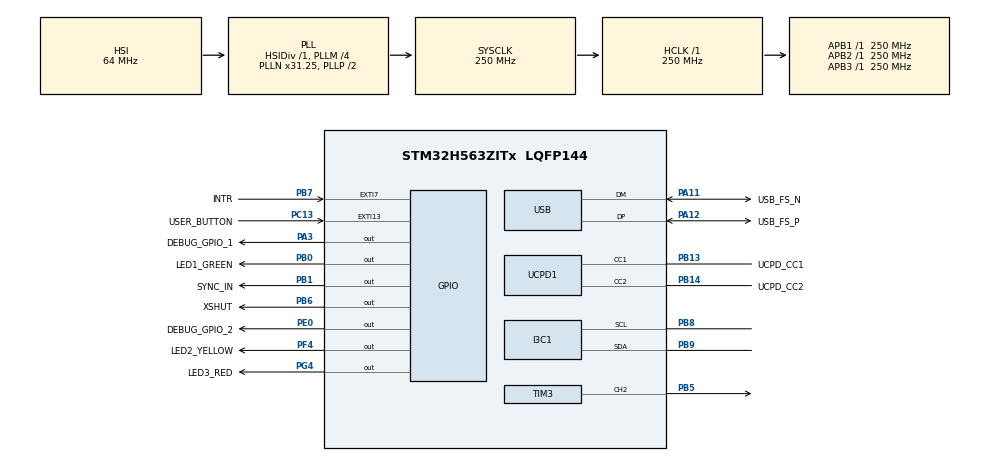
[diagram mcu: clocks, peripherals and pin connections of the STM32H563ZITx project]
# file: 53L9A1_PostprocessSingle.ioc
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BOOTPATH.BootPathName=LEGACY
BOOTPATH.UserSelectedBootPath=LEGACY
CORTEX_M33_NS.userName=CORTEX_M33
GPDMA1.DESTDATAWIDTH_GPDMACH0=DMA_DEST_DATAWIDTH_WORD
GPDMA1.DESTINC_GPDMACH0=DMA_DINC_FIXED
GPDMA1.DESTINC_GPDMACH1=DMA_DINC_FIXED
GPDMA1.DESTINC_GPDMACH2=DMA_DINC_INCREMENTED
GPDMA1.DIRECTION_GPDMACH0=DMA_MEMORY_TO_PERIPH
GPDMA1.IPHANDLE_GPDMACH0-SIMPLEREQUEST_GPDMACH0=__NULL
GPDMA1.IPHANDLE_GPDMACH1-SIMPLEREQUEST_GPDMACH1=__NULL
GPDMA1.IPHANDLE_GPDMACH2-SIMPLEREQUEST_GPDMACH2=__NULL
GPDMA1.REQUEST_GPDMACH0=GPDMA1_REQUEST_I3C1_TC
GPDMA1.REQUEST_GPDMACH1=GPDMA1_REQUEST_I3C1_TX
GPDMA1.REQUEST_GPDMACH2=GPDMA1_REQUEST_I3C1_RX
GPDMA1.SRCDATAWIDTH_GPDMACH0=DMA_SRC_DATAWIDTH_WORD
GPDMA1.SRCINC_GPDMACH0=DMA_SINC_INCREMENTED
GPDMA1.SRCINC_GPDMACH1=DMA_SINC_INCREMENTED
I3C1.BusFreeDuration=850
I3C1.BusUsage=MixedUsage
I3C1.DutyCycleI2C=50
I3C1.DutyCycleI3C=4
I3C1.Register0=0x7c7c09bd
I3C1.Register1=0x106a00f8
I3C1.SCLI2CHighDuration=0x7c
I3C1.SCLI3CHighDuration=0x09
I3C1.SCLODLowDuration=0x7c
I3C1.SCLPPLowDuration=0xbd
I3C1.SCL_OD_Freq=1852
I3C1.SCL_PP_Freq=1250
I3C1.SDAHoldTime=HAL_I3C_SDA_HOLD_TIME_1_5
I3C1.hexBusFreeDuration=0x6a
I3C1.hexBusIdleDuration=0xf8
Mcu.Family=STM32H5
Mcu.Name=STM32H563ZITx
Mcu.Package=LQFP144
NUCLEO-H563ZI.VCP=true
NVIC.EXTI7_IRQn=true\:0\:0\:false\:false\:true\:true\:true\:true
NVIC.GPDMA1_Channel0_IRQn=true\:0\:0\:false\:false\:true\:false\:true\:true
NVIC.GPDMA1_Channel1_IRQn=true\:0\:0\:false\:false\:true\:false\:true\:true
NVIC.GPDMA1_Channel2_IRQn=true\:0\:0\:false\:false\:true\:false\:true\:true
NVIC.I3C1_ER_IRQn=true\:0\:0\:false\:false\:true\:true\:true\:true
NVIC.I3C1_EV_IRQn=true\:0\:0\:false\:false\:true\:true\:true\:true
NVIC.PriorityGroup=NVIC_PRIORITYGROUP_4
PA1.GPIO_Label=RMII_REF_CLK
PA1.GPIO_Mode=GPIO_MODE_AF_PP
PA1.GPIO_PuPd=GPIO_NOPULL
PA1.GPIO_Speed=GPIO_SPEED_FREQ_LOW
PA1.Signal=ETH_RMII_REF_CLK
PA11.GPIO_Label=USB_FS_N
PA11.Mode=Device
PA11.Signal=USB_DM
PA12.GPIO_Label=USB_FS_P
PA12.Mode=Device
PA12.Signal=USB_DP
PA13(JTMS/SWDIO).GPIO_Label=SWDIO
PA13(JTMS/SWDIO).Mode=Trace_Synchro_4bits_JTAG
PA13(JTMS/SWDIO).Signal=DEBUG_JTMS-SWDIO
PA14(JTCK/SWCLK).GPIO_Label=SWCLK
PA14(JTCK/SWCLK).Mode=Trace_Synchro_4bits_JTAG
PA14(JTCK/SWCLK).Signal=DEBUG_JTCK-SWCLK
PA15(JTDI).GPIO_Label=T_JTDI
PA15(JTDI).Mode=Trace_Synchro_4bits_JTAG
PA15(JTDI).Signal=DEBUG_JTDI
PA2.GPIO_Label=RMII_MDIO
PA2.GPIO_Mode=GPIO_MODE_AF_PP
PA2.GPIO_PuPd=GPIO_NOPULL
PA2.GPIO_Speed=GPIO_SPEED_FREQ_LOW
PA2.Signal=ETH_MDIO
PA3.GPIO_Label=DEBUG_GPIO_1
PA3.GPIO_Speed=GPIO_SPEED_FREQ_HIGH
PA3.Signal=GPIO_Output
PA4.GPIO_Label=VBUS_SENSE
PA4.Signal=ADCx_INP18
PA7.GPIO_Label=RMII_CRS_DV
PA7.GPIO_Mode=GPIO_MODE_AF_PP
PA7.GPIO_PuPd=GPIO_NOPULL
PA7.GPIO_Speed=GPIO_SPEED_FREQ_LOW
PA7.Signal=ETH_RMII_CRS_DV
PA9.GPIO_Label=UCPD_DBn
PA9.Signal=UCPD1_DB1
PB0.GPIO_Label=LED1_GREEN
PB0.Signal=GPIO_Output
PB1.GPIO_Label=SYNC_IN
PB1.GPIO_Speed=GPIO_SPEED_FREQ_VERY_HIGH
PB1.PinState=GPIO_PIN_SET
PB1.Signal=GPIO_Output
PB13.GPIO_Label=UCPD_CC1
PB13.Mode=Source_AllSignals
PB13.Signal=UCPD1_CC1
PB14.GPIO_Label=UCPD_CC2
PB14.Mode=Source_AllSignals
PB14.Signal=UCPD1_CC2
PB15.GPIO_Label=RMII_TXD1
PB15.GPIO_Mode=GPIO_MODE_AF_PP
PB15.GPIO_PuPd=GPIO_NOPULL
PB15.GPIO_Speed=GPIO_SPEED_FREQ_LOW
PB15.Signal=ETH_RMII_TXD1
PB3(JTDO/TRACESWO).GPIO_Label=SWO
PB3(JTDO/TRACESWO).Mode=Trace_Synchro_4bits_JTAG
PB3(JTDO/TRACESWO).Signal=DEBUG_JTDO-SWO
PB5.GPIO_Speed=GPIO_SPEED_FREQ_HIGH
PB5.Signal=S_TIM3_CH2
PB6.GPIO_Label=XSHUT
PB6.PinState=GPIO_PIN_SET
PB6.Signal=GPIO_Output
PB7.GPIO_Label=INTR
PB7.GPIO_ModeDefaultEXTI=GPIO_MODE_IT_FALLING
PB7.Signal=GPXTI7
PB8.Mode=Controller
PB8.Signal=I3C1_SCL
PB9.Mode=Controller
PB9.Signal=I3C1_SDA
PC1.GPIO_Label=RMII_MDC
PC1.GPIO_Mode=GPIO_MODE_AF_PP
PC1.GPIO_PuPd=GPIO_NOPULL
PC1.GPIO_Speed=GPIO_SPEED_FREQ_LOW
PC1.Signal=ETH_MDC
PC13.GPIO_Label=USER_BUTTON
PC13.Signal=GPXTI13
PC14-OSC32_IN(OSC32_IN).Mode=LSE-External-Oscillator
PC14-OSC32_IN(OSC32_IN).Signal=RCC_OSC32_IN
PC15-OSC32_OUT(OSC32_OUT).Mode=LSE-External-Oscillator
PC15-OSC32_OUT(OSC32_OUT).Signal=RCC_OSC32_OUT
PC4.GPIO_Label=RMII_RXD0
PC4.GPIO_Mode=GPIO_MODE_AF_PP
PC4.GPIO_PuPd=GPIO_NOPULL
PC4.GPIO_Speed=GPIO_SPEED_FREQ_LOW
PC4.Signal=ETH_RMII_RXD0
PC5.GPIO_Label=RMII_RXD1
PC5.GPIO_Mode=GPIO_MODE_AF_PP
PC5.GPIO_PuPd=GPIO_NOPULL
PC5.GPIO_Speed=GPIO_SPEED_FREQ_LOW
PC5.Signal=ETH_RMII_RXD1
PE0.GPIO_Label=DEBUG_GPIO_2
PE0.GPIO_Speed=GPIO_SPEED_FREQ_HIGH
PE0.Signal=GPIO_Output
PE2.GPIO_Label=TRACE_CK
PE2.Mode=Trace_Synchro_4bits_JTAG
PE2.Signal=DEBUG_TRACECLK
PE3.GPIO_Label=TRACE_D0
PE3.Mode=Trace_Synchro_4bits_JTAG
PE3.Signal=DEBUG_TRACED0
PE4.GPIO_Label=TRACE_D1
PE4.Mode=Trace_Synchro_4bits_JTAG
PE4.Signal=DEBUG_TRACED1
PE5.GPIO_Label=TRACE_D2
PE5.Mode=Trace_Synchro_4bits_JTAG
PE5.Signal=DEBUG_TRACED2
PE6.GPIO_Label=TRACE_D3
PE6.Mode=Trace_Synchro_4bits_JTAG
PE6.Signal=DEBUG_TRACED3
PF4.GPIO_Label=LED2_YELLOW
PF4.Signal=GPIO_Output
PG11.GPIO_Label=RMII_TXT_EN
PG11.GPIO_Mode=GPIO_MODE_AF_PP
PG11.GPIO_PuPd=GPIO_NOPULL
PG11.GPIO_Speed=GPIO_SPEED_FREQ_LOW
PG11.Signal=ETH_RMII_TX_EN
PG13.GPIO_Label=RMI_TXD0
PG13.GPIO_Mode=GPIO_MODE_AF_PP
PG13.GPIO_PuPd=GPIO_NOPULL
PG13.GPIO_Speed=GPIO_SPEED_FREQ_LOW
PG13.Signal=ETH_RMII_TXD0
PG4.GPIO_Label=LED3_RED
PG4.Signal=GPIO_Output
PH0-OSC_IN(PH0).Mode=HSE-DIG-External-Clock-Source
PH0-OSC_IN(PH0).Signal=RCC_OSC_IN
ProjectManager.HeapSize=0x200
ProjectManager.StackSize=0x400
ProjectManager.TargetToolchain=CMake
RCC.ADCCLockSelection=RCC_ADCDACCLKSOURCE_HSI
RCC.ADCFreq_Value=64000000
RCC.AHBFreq_Value=250000000
RCC.APB1Freq_Value=250000000
RCC.APB1TimFreq_Value=250000000
RCC.APB2Freq_Value=250000000
RCC.APB2TimFreq_Value=250000000
RCC.APB3Freq_Value=250000000
RCC.CSI_VALUE=4000000
RCC.CortexFreq_Value=250000000
RCC.EPOD_VALUE=8000000
RCC.HCLKFreq_Value=250000000
RCC.HSE_VALUE=8000000
RCC.HSI48_VALUE=48000000
RCC.HSIDiv=RCC_HSI_DIV1
RCC.HSI_VALUE=64000000
RCC.LSIRC_VALUE=32000
RCC.PLLFRACN=2048
RCC.PLLM=4
RCC.PLLN=31
RCC.PLLSourceVirtual=RCC_PLL1_SOURCE_HSI
RCC.SYSCLKFreq_VALUE=250000000
RCC.SYSCLKSource=RCC_SYSCLKSOURCE_PLLCLK
RCC.USBFreq_Value=48000000
RCC.VCOOutputFreq_Value=500000000
SH.ADCx_INP18.0=ADC1_INP18
SH.S_TIM3_CH2.0=TIM3_CH2,PWM Generation2 CH2
TIM3.AutoReloadPreload=TIM_AUTORELOAD_PRELOAD_ENABLE
TIM3.Channel-PWM\ Generation2\ CH2=TIM_CHANNEL_2
TIM3.PeriodNoDither=19
TIM3.PulseNoDither_2=10
USB.VirtualMode=Device_Only
VP_BOOTPATH_VS_BOOTPATH.Mode=BP_Activate
VP_CORTEX_M33_NS_VS_Hclk.Mode=Hclk_Mode
VP_GPDMA1_VS_GPDMACH0.Mode=SIMPLEREQUEST_GPDMACH0
VP_GPDMA1_VS_GPDMACH1.Mode=SIMPLEREQUEST_GPDMACH1
VP_GPDMA1_VS_GPDMACH2.Mode=SIMPLEREQUEST_GPDMACH2
VP_ICACHE_VS_ICACHE.Mode=DefaultMode
VP_MEMORYMAP_VS_MEMORYMAP.Mode=CurAppReg
VP_NUCLEO-H563ZI_VS_BSP_COMMON.Mode=COMMON
VP_PWR_VS_LPOM.Mode=PowerOptimisation
VP_PWR_VS_SECSignals.Mode=Security/Privilege
board=NUCLEO-H563ZI

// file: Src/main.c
/* USER CODE BEGIN Header */
/**
  ******************************************************************************
  * @file           : main.c
  * @brief          : Main program body
  ******************************************************************************
  * @attention
  *
  * Copyright (c) 2026 STMicroelectronics.
  * All rights reserved.
  *
  * This software is licensed under terms that can be found in the LICENSE file
  * in the root directory of this software component.
  * If no LICENSE file comes with this software, it is provided AS-IS.
  *
  ******************************************************************************
  */
/* USER CODE END Header */
#include "main.h"

/* USER CODE BEGIN Includes */
#include "stm32h5xx_nucleo.h"
#include "tusb.h"
#include "ethernet_transport.h"
/* USER CODE END Includes */

COM_InitTypeDef BspCOMInit;

I3C_HandleTypeDef hi3c1;
DMA_HandleTypeDef handle_GPDMA1_Channel2;
DMA_HandleTypeDef handle_GPDMA1_Channel1;
DMA_HandleTypeDef handle_GPDMA1_Channel0;

TIM_HandleTypeDef htim3;

PCD_HandleTypeDef hpcd_USB_DRD_FS;

void SystemClock_Config(void);
static void MX_GPIO_Init(void);
static void MX_GPDMA1_Init(void);
static void MX_ICACHE_Init(void);
static void MX_UCPD1_Init(void);
static void MX_I3C1_Init(void);
static void MX_USB_PCD_Init(void);
static void MX_TIM3_Init(void);

/* USER CODE BEGIN 0 */
extern void vl53l9_app(void);

/* Boot progress on the three user LEDs, so a board with no debugger and no
 * serial console can still say where it got to. Deliberately the very first
 * thing main() does, before any clock or peripheral setup:
 *   all three dark              -> never reached main(): held in reset, no MCU
 *                                  power, or a fault before HAL_Init()
 *   LED3 (red,    PG4) solid    -> reached main(), then either wedged in
 *                                  SystemClock_Config()/peripheral init or hit
 *                                  Error_Handler() (which lights it too)
 *   LED1 (green,  PB0) solid    -> clocks + peripherals are up
 *   LED2 (yellow, PF4) blinking -> the acquisition loop is turning over
 * Healthy steady state is therefore green solid + yellow blinking + red dark.
 * Diagnosing the 2026-07-28 "board is powered and the PHY link LED is on but
 * the network is completely silent" failure needed exactly this signal and did
 * not have it: the PHY's link/activity LEDs come from its own power-on
 * autonegotiation and the switch's broadcast traffic, so they say nothing at
 * all about whether the firmware is running. */
static void BootLedsInit(void)
{
  BSP_LED_Init(LED1);
  BSP_LED_Init(LED2);
  BSP_LED_Init(LED3);
  BSP_LED_Off(LED1);
  BSP_LED_Off(LED2);
  BSP_LED_On(LED3);             /* cleared again once init completes */
}

/* Toggle the heartbeat roughly twice a second without blocking the caller.
 * Called from the acquisition loop inside vl53l9_app(), NOT from main()'s
 * while(1): vl53l9_app() owns its own `while (1)` and never returns, so a
 * heartbeat in main() would fire exactly once at boot and sit there dark while
 * the board streamed perfectly happily (first version of this did exactly that
 * -- 2026-07-28). Driving it from the acquisition loop also makes it mean
 * something sharper: "frames are being acquired", not just "the core is up". */
void rs_boot_heartbeat(void)
{
  static uint32_t last = 0;
  uint32_t now = HAL_GetTick();
  if ((now - last) >= 500U)
  {
    last = now;
    BSP_LED_Toggle(LED2);
  }
}
/* USER CODE END 0 */

int main(void)
{

  /* MCU Configuration--------------------------------------------------------*/

  /* Reset of all peripherals, Initializes the Flash interface and the Systick. */
  HAL_Init();

  /* USER CODE BEGIN Init */
  BootLedsInit();               /* before anything that can wedge -- see above */
  /* USER CODE END Init */

  /* Configure the system clock */
  SystemClock_Config();

  /* Initialize all configured peripherals */
  MX_GPIO_Init();
  MX_GPDMA1_Init();
  MX_ICACHE_Init();
  MX_UCPD1_Init();
  MX_I3C1_Init();
  /* MX_USB_PCD_Init(); */ /* USB owned by TinyUSB (see USER CODE 2) */
  MX_TIM3_Init();
  /* USER CODE BEGIN 2 */
  /* MX_GPIO_Init() drives all three LED pins low as part of its generated
   * "Configure GPIO pin Output Level" block, so the boot state has to be
   * (re-)asserted here rather than straight after SystemClock_Config(). */
  BSP_LED_Off(LED3);            /* survived the clock + peripheral init */
  BSP_LED_On(LED1);             /* green: clocks are up */

  /* Route the 48 MHz USB kernel clock (HSI48). This lived in the now-bypassed
   * HAL_PCD_MspInit (stm32h5xx_hal_msp.c) — without it the USB PHY never
   * signals and the device does not enumerate. */
  RCC_PeriphCLKInitTypeDef UsbClkInit = {0};
  UsbClkInit.PeriphClockSelection = RCC_PERIPHCLK_USB;
  UsbClkInit.UsbClockSelection = RCC_USBCLKSOURCE_HSI48;
  if (HAL_RCCEx_PeriphCLKConfig(&UsbClkInit) != HAL_OK)
  {
    Error_Handler();
  }

  HAL_PWREx_EnableVddUSB();
  __HAL_RCC_USB_CLK_ENABLE();
  HAL_NVIC_SetPriority(USB_DRD_FS_IRQn, 6, 0);
  HAL_NVIC_EnableIRQ(USB_DRD_FS_IRQn);
  /* USER CODE END 2 */

  /* Initialize COM1 port (115200, 8 bits (7-bit data + 1 stop bit), no parity */
  BspCOMInit.BaudRate   = 115200;
  BspCOMInit.WordLength = COM_WORDLENGTH_8B;
  BspCOMInit.StopBits   = COM_STOPBITS_1;
  BspCOMInit.Parity     = COM_PARITY_NONE;
  BspCOMInit.HwFlowCtl  = COM_HWCONTROL_NONE;
  if (BSP_COM_Init(COM1, &BspCOMInit) != BSP_ERROR_NONE)
  {
    Error_Handler();
  }
  setvbuf(stdout, NULL, _IOLBF, 0);

  printf("clock: SYSCLK 250 MHz from HSI (no dependency on the ST-LINK MCO)\r\n");

  ETH_Init();

  /* Infinite loop */
  while (1)
  {

    /* USER CODE BEGIN 3 */
    vl53l9_app();               /* owns its own loop; heartbeats from in there */
  }
  /* USER CODE END 3 */
}

void SystemClock_Config(void)
{
  RCC_OscInitTypeDef RCC_OscInitStruct = {0};
  RCC_ClkInitTypeDef RCC_ClkInitStruct = {0};

  /** Configure the main internal regulator output voltage
  */
  __HAL_PWR_VOLTAGESCALING_CONFIG(PWR_REGULATOR_VOLTAGE_SCALE0);

  while(!__HAL_PWR_GET_FLAG(PWR_FLAG_VOSRDY)) {}

  /** Initializes the RCC Oscillators according to the specified parameters
  * in the RCC_OscInitTypeDef structure.
  */
  /* PLL1 runs off the internal HSI, NOT HSE. The NUCLEO-H563ZI has no HSE
   * crystal fitted: OSC_IN (PH0) is driven by STLK_MCO, the 8 MHz MCO output of
   * the on-board ST-LINK MCU (MB1404 schematic sheet 9: T_MCO -> R77 -> buffer
   * U10 -> SB49/SB50 -> PH0-OSC_IN; X3's footprint is unpopulated), which is
   * why the original generated config asked for RCC_HSE_BYPASS_DIGITAL. That
   * buffer runs off 3V3_STLK, derived from VBUS_STLK -- i.e. from the ST-LINK
   * USB cable on CN1. So the board's system clock died the moment the ST-LINK
   * was unplugged, even with JP2 at 9-10 feeding it 5 V from USB_USER: the
   * whole firmware wedged in Error_Handler() before ETH_Init(), and the board
   * sat there with a PHY link LED on and a completely silent network -- no
   * DHCP, no mDNS, no frames (owner, 2026-07-28).
   *
   * Detecting that and falling back was tried first and did NOT rescue it on
   * the bench (it recovered a *forced* HSE failure with the ST-LINK attached,
   * but not the real unplugged case), so the dependency is removed outright
   * rather than papered over. Nothing needs HSE: PLLM = 4 puts HSI/4 = 16 MHz
   * in the same VCIRANGE_3 input band the 8 MHz HSE used, and 31 + 2048/8192 =
   * 31.25 x 16 MHz gives the same 500 MHz VCO and the same 250 MHz SYSCLK, so
   * every downstream clock is bit-identical. USB runs off HSI48 and Ethernet
   * off the LAN8742's own 25 MHz crystal. The only cost is HSI's ~1% RC
   * accuracy on frame timestamps, measured as immaterial (90.50 fps on HSI vs
   * 91.41/90.48 fps on HSE -- inside the run-to-run noise).
   *
   * Mirrored into 53L9A1_PostprocessSingle.ioc (RCC.PLLSourceVirtual/PLLM/
   * PLLN/PLLFRACN) so a CubeMX regeneration keeps it. */
  RCC_OscInitStruct.OscillatorType = RCC_OSCILLATORTYPE_HSI48|RCC_OSCILLATORTYPE_HSI;
  RCC_OscInitStruct.HSIState = RCC_HSI_ON;
  RCC_OscInitStruct.HSIDiv = RCC_HSI_DIV1;
  RCC_OscInitStruct.HSICalibrationValue = RCC_HSICALIBRATION_DEFAULT;
  RCC_OscInitStruct.HSI48State = RCC_HSI48_ON;
  RCC_OscInitStruct.PLL.PLLState = RCC_PLL_ON;
  RCC_OscInitStruct.PLL.PLLSource = RCC_PLL1_SOURCE_HSI;
  RCC_OscInitStruct.PLL.PLLM = 4;
  RCC_OscInitStruct.PLL.PLLN = 31;
  RCC_OscInitStruct.PLL.PLLP = 2;
  RCC_OscInitStruct.PLL.PLLQ = 2;
  RCC_OscInitStruct.PLL.PLLR = 2;
  RCC_OscInitStruct.PLL.PLLRGE = RCC_PLL1_VCIRANGE_3;
  RCC_OscInitStruct.PLL.PLLVCOSEL = RCC_PLL1_VCORANGE_WIDE;
  RCC_OscInitStruct.PLL.PLLFRACN = 2048;
  if (HAL_RCC_OscConfig(&RCC_OscInitStruct) != HAL_OK)
  {
    Error_Handler();
  }

  /** Initializes the CPU, AHB and APB buses clocks
  */
  RCC_ClkInitStruct.ClockType = RCC_CLOCKTYPE_HCLK|RCC_CLOCKTYPE_SYSCLK
                              |RCC_CLOCKTYPE_PCLK1|RCC_CLOCKTYPE_PCLK2
                              |RCC_CLOCKTYPE_PCLK3;
  RCC_ClkInitStruct.SYSCLKSource = RCC_SYSCLKSOURCE_PLLCLK;
  RCC_ClkInitStruct.AHBCLKDivider = RCC_SYSCLK_DIV1;
  RCC_ClkInitStruct.APB1CLKDivider = RCC_HCLK_DIV1;
  RCC_ClkInitStruct.APB2CLKDivider = RCC_HCLK_DIV1;
  RCC_ClkInitStruct.APB3CLKDivider = RCC_HCLK_DIV1;

  if (HAL_RCC_ClockConfig(&RCC_ClkInitStruct, FLASH_LATENCY_5) != HAL_OK)
  {
    Error_Handler();
  }

  /** Configure the programming delay
  */
  __HAL_FLASH_SET_PROGRAM_DELAY(FLASH_PROGRAMMING_DELAY_2);
}

static void MX_GPDMA1_Init(void)
{

  /* Peripheral clock enable */
  __HAL_RCC_GPDMA1_CLK_ENABLE();

  /* GPDMA1 interrupt Init */
    HAL_NVIC_SetPriority(GPDMA1_Channel0_IRQn, 0, 0);
    HAL_NVIC_EnableIRQ(GPDMA1_Channel0_IRQn);
    HAL_NVIC_SetPriority(GPDMA1_Channel1_IRQn, 0, 0);
    HAL_NVIC_EnableIRQ(GPDMA1_Channel1_IRQn);
    HAL_NVIC_SetPriority(GPDMA1_Channel2_IRQn, 0, 0);
    HAL_NVIC_EnableIRQ(GPDMA1_Channel2_IRQn);

}

static void MX_I3C1_Init(void)
{

  I3C_FifoConfTypeDef sFifoConfig = {0};
  I3C_CtrlConfTypeDef sCtrlConfig = {0};

  hi3c1.Instance = I3C1;
  hi3c1.Mode = HAL_I3C_MODE_CONTROLLER;
  hi3c1.Init.CtrlBusCharacteristic.SDAHoldTime = HAL_I3C_SDA_HOLD_TIME_1_5;
  hi3c1.Init.CtrlBusCharacteristic.WaitTime = HAL_I3C_OWN_ACTIVITY_STATE_0;
  hi3c1.Init.CtrlBusCharacteristic.SCLPPLowDuration = 0xbd;
  hi3c1.Init.CtrlBusCharacteristic.SCLI3CHighDuration = 0x09;
  hi3c1.Init.CtrlBusCharacteristic.SCLODLowDuration = 0x7c;
  hi3c1.Init.CtrlBusCharacteristic.SCLI2CHighDuration = 0x7c;
  hi3c1.Init.CtrlBusCharacteristic.BusFreeDuration = 0x6a;
  hi3c1.Init.CtrlBusCharacteristic.BusIdleDuration = 0xf8;
  if (HAL_I3C_Init(&hi3c1) != HAL_OK)
  {
    Error_Handler();
  }

  /** Configure FIFO
  */
  sFifoConfig.RxFifoThreshold = HAL_I3C_RXFIFO_THRESHOLD_1_4;
  sFifoConfig.TxFifoThreshold = HAL_I3C_TXFIFO_THRESHOLD_1_4;
  sFifoConfig.ControlFifo = HAL_I3C_CONTROLFIFO_DISABLE;
  sFifoConfig.StatusFifo = HAL_I3C_STATUSFIFO_DISABLE;
  if (HAL_I3C_SetConfigFifo(&hi3c1, &sFifoConfig) != HAL_OK)
  {
    Error_Handler();
  }

  /** Configure controller
  */
  sCtrlConfig.DynamicAddr = 0;
  sCtrlConfig.StallTime = 0x00;
  sCtrlConfig.HotJoinAllowed = DISABLE;
  sCtrlConfig.ACKStallState = DISABLE;
  sCtrlConfig.CCCStallState = DISABLE;
  sCtrlConfig.TxStallState = DISABLE;
  sCtrlConfig.RxStallState = DISABLE;
  sCtrlConfig.HighKeeperSDA = DISABLE;
  if (HAL_I3C_Ctrl_Config(&hi3c1, &sCtrlConfig) != HAL_OK)
  {
    Error_Handler();
  }

}

static void MX_ICACHE_Init(void)
{

  /** Enable instruction cache (default 2-ways set associative cache)
  */
  if (HAL_ICACHE_Enable() != HAL_OK)
  {
    Error_Handler();
  }

}

static void MX_TIM3_Init(void)
{

  TIM_MasterConfigTypeDef sMasterConfig = {0};
  TIM_OC_InitTypeDef sConfigOC = {0};

  htim3.Instance = TIM3;
  htim3.Init.Prescaler = 0;
  htim3.Init.CounterMode = TIM_COUNTERMODE_UP;
  htim3.Init.Period = 19;
  htim3.Init.ClockDivision = TIM_CLOCKDIVISION_DIV1;
  htim3.Init.AutoReloadPreload = TIM_AUTORELOAD_PRELOAD_ENABLE;
  if (HAL_TIM_PWM_Init(&htim3) != HAL_OK)
  {
    Error_Handler();
  }
  sMasterConfig.MasterOutputTrigger = TIM_TRGO_RESET;
  sMasterConfig.MasterSlaveMode = TIM_MASTERSLAVEMODE_DISABLE;
  if (HAL_TIMEx_MasterConfigSynchronization(&htim3, &sMasterConfig) != HAL_OK)
  {
    Error_Handler();
  }
  sConfigOC.OCMode = TIM_OCMODE_PWM1;
  sConfigOC.Pulse = 10;
  sConfigOC.OCPolarity = TIM_OCPOLARITY_HIGH;
  sConfigOC.OCFastMode = TIM_OCFAST_DISABLE;
  if (HAL_TIM_PWM_ConfigChannel(&htim3, &sConfigOC, TIM_CHANNEL_2) != HAL_OK)
  {
    Error_Handler();
  }
  HAL_TIM_MspPostInit(&htim3);

}

static void MX_UCPD1_Init(void)
{

  LL_GPIO_InitTypeDef GPIO_InitStruct = {0};

  /* Peripheral clock enable */
  LL_APB1_GRP2_EnableClock(LL_APB1_GRP2_PERIPH_UCPD1);

  LL_AHB2_GRP1_EnableClock(LL_AHB2_GRP1_PERIPH_GPIOB);
  /**UCPD1 GPIO Configuration
  PB13   ------> UCPD1_CC1
  PB14   ------> UCPD1_CC2
  */
  GPIO_InitStruct.Pin = LL_GPIO_PIN_13|LL_GPIO_PIN_14;
  GPIO_InitStruct.Mode = LL_GPIO_MODE_ANALOG;
  GPIO_InitStruct.Pull = LL_GPIO_PULL_NO;
  LL_GPIO_Init(GPIOB, &GPIO_InitStruct);

}

static void __attribute__((unused)) MX_USB_PCD_Init(void) /* retained MX-generated init; USB owned by TinyUSB */
{

  hpcd_USB_DRD_FS.Instance = USB_DRD_FS;
  hpcd_USB_DRD_FS.Init.dev_endpoints = 8;
  hpcd_USB_DRD_FS.Init.speed = USBD_FS_SPEED;
  hpcd_USB_DRD_FS.Init.phy_itface = PCD_PHY_EMBEDDED;
  hpcd_USB_DRD_FS.Init.Sof_enable = DISABLE;
  hpcd_USB_DRD_FS.Init.low_power_enable = DISABLE;
  hpcd_USB_DRD_FS.Init.lpm_enable = DISABLE;
  hpcd_USB_DRD_FS.Init.battery_charging_enable = DISABLE;
  hpcd_USB_DRD_FS.Init.vbus_sensing_enable = DISABLE;
  hpcd_USB_DRD_FS.Init.bulk_doublebuffer_enable = DISABLE;
  hpcd_USB_DRD_FS.Init.iso_singlebuffer_enable = DISABLE;
  if (HAL_PCD_Init(&hpcd_USB_DRD_FS) != HAL_OK)
  {
    Error_Handler();
  }

}

static void MX_GPIO_Init(void)
{
  GPIO_InitTypeDef GPIO_InitStruct = {0};

  /* GPIO Ports Clock Enable */
  __HAL_RCC_GPIOE_CLK_ENABLE();
  __HAL_RCC_GPIOC_CLK_ENABLE();
  __HAL_RCC_GPIOF_CLK_ENABLE();
  __HAL_RCC_GPIOH_CLK_ENABLE();
  __HAL_RCC_GPIOA_CLK_ENABLE();
  __HAL_RCC_GPIOB_CLK_ENABLE();
  __HAL_RCC_GPIOG_CLK_ENABLE();

  /*Configure GPIO pin Output Level */
  HAL_GPIO_WritePin(LED2_YELLOW_GPIO_Port, LED2_YELLOW_Pin, GPIO_PIN_RESET);

  /*Configure GPIO pin Output Level */
  HAL_GPIO_WritePin(DEBUG_GPIO_1_GPIO_Port, DEBUG_GPIO_1_Pin, GPIO_PIN_RESET);

  /*Configure GPIO pin Output Level */
  HAL_GPIO_WritePin(LED1_GREEN_GPIO_Port, LED1_GREEN_Pin, GPIO_PIN_RESET);

  /*Configure GPIO pin Output Level */
  HAL_GPIO_WritePin(GPIOB, SYNC_IN_Pin|XSHUT_Pin, GPIO_PIN_SET);

  /*Configure GPIO pin Output Level */
  HAL_GPIO_WritePin(LED3_RED_GPIO_Port, LED3_RED_Pin, GPIO_PIN_RESET);

  /*Configure GPIO pin Output Level */
  HAL_GPIO_WritePin(DEBUG_GPIO_2_GPIO_Port, DEBUG_GPIO_2_Pin, GPIO_PIN_RESET);

  /*Configure GPIO pin : USER_BUTTON_Pin */
  GPIO_InitStruct.Pin = USER_BUTTON_Pin;
  GPIO_InitStruct.Mode = GPIO_MODE_IT_RISING;
  GPIO_InitStruct.Pull = GPIO_NOPULL;
  HAL_GPIO_Init(USER_BUTTON_GPIO_Port, &GPIO_InitStruct);

  /*Configure GPIO pin : LED2_YELLOW_Pin */
  GPIO_InitStruct.Pin = LED2_YELLOW_Pin;
  GPIO_InitStruct.Mode = GPIO_MODE_OUTPUT_PP;
  GPIO_InitStruct.Pull = GPIO_NOPULL;
  GPIO_InitStruct.Speed = GPIO_SPEED_FREQ_LOW;
  HAL_GPIO_Init(LED2_YELLOW_GPIO_Port, &GPIO_InitStruct);

  /*Configure GPIO pins : RMII_MDC_Pin RMII_RXD0_Pin RMII_RXD1_Pin */
  GPIO_InitStruct.Pin = RMII_MDC_Pin|RMII_RXD0_Pin|RMII_RXD1_Pin;
  GPIO_InitStruct.Mode = GPIO_MODE_AF_PP;
  GPIO_InitStruct.Pull = GPIO_NOPULL;
  GPIO_InitStruct.Speed = GPIO_SPEED_FREQ_HIGH;
  GPIO_InitStruct.Alternate = GPIO_AF11_ETH;
  HAL_GPIO_Init(GPIOC, &GPIO_InitStruct);

  /*Configure GPIO pins : RMII_REF_CLK_Pin RMII_MDIO_Pin RMII_CRS_DV_Pin */
  GPIO_InitStruct.Pin = RMII_REF_CLK_Pin|RMII_MDIO_Pin|RMII_CRS_DV_Pin;
  GPIO_InitStruct.Mode = GPIO_MODE_AF_PP;
  GPIO_InitStruct.Pull = GPIO_NOPULL;
  GPIO_InitStruct.Speed = GPIO_SPEED_FREQ_HIGH;
  GPIO_InitStruct.Alternate = GPIO_AF11_ETH;
  HAL_GPIO_Init(GPIOA, &GPIO_InitStruct);

  /*Configure GPIO pin : DEBUG_GPIO_1_Pin */
  GPIO_InitStruct.Pin = DEBUG_GPIO_1_Pin;
  GPIO_InitStruct.Mode = GPIO_MODE_OUTPUT_PP;
  GPIO_InitStruct.Pull = GPIO_NOPULL;
  GPIO_InitStruct.Speed = GPIO_SPEED_FREQ_HIGH;
  HAL_GPIO_Init(DEBUG_GPIO_1_GPIO_Port, &GPIO_InitStruct);

  /*Configure GPIO pin : VBUS_SENSE_Pin */
  GPIO_InitStruct.Pin = VBUS_SENSE_Pin;
  GPIO_InitStruct.Mode = GPIO_MODE_ANALOG;
  GPIO_InitStruct.Pull = GPIO_NOPULL;
  HAL_GPIO_Init(VBUS_SENSE_GPIO_Port, &GPIO_InitStruct);

  /*Configure GPIO pins : LED1_GREEN_Pin XSHUT_Pin */
  GPIO_InitStruct.Pin = LED1_GREEN_Pin|XSHUT_Pin;
  GPIO_InitStruct.Mode = GPIO_MODE_OUTPUT_PP;
  GPIO_InitStruct.Pull = GPIO_NOPULL;
  GPIO_InitStruct.Speed = GPIO_SPEED_FREQ_LOW;
  HAL_GPIO_Init(GPIOB, &GPIO_InitStruct);

  /*Configure GPIO pin : SYNC_IN_Pin */
  GPIO_InitStruct.Pin = SYNC_IN_Pin;
  GPIO_InitStruct.Mode = GPIO_MODE_OUTPUT_PP;
  GPIO_InitStruct.Pull = GPIO_NOPULL;
  GPIO_InitStruct.Speed = GPIO_SPEED_FREQ_VERY_HIGH;
  HAL_GPIO_Init(SYNC_IN_GPIO_Port, &GPIO_InitStruct);

  /*Configure GPIO pin : RMII_TXD1_Pin */
  GPIO_InitStruct.Pin = RMII_TXD1_Pin;
  GPIO_InitStruct.Mode = GPIO_MODE_AF_PP;
  GPIO_InitStruct.Pull = GPIO_NOPULL;
  GPIO_InitStruct.Speed = GPIO_SPEED_FREQ_HIGH;
  GPIO_InitStruct.Alternate = GPIO_AF11_ETH;
  HAL_GPIO_Init(RMII_TXD1_GPIO_Port, &GPIO_InitStruct);

  /*Configure GPIO pin : LED3_RED_Pin */
  GPIO_InitStruct.Pin = LED3_RED_Pin;
  GPIO_InitStruct.Mode = GPIO_MODE_OUTPUT_PP;
  GPIO_InitStruct.Pull = GPIO_NOPULL;
  GPIO_InitStruct.Speed = GPIO_SPEED_FREQ_LOW;
  HAL_GPIO_Init(LED3_RED_GPIO_Port, &GPIO_InitStruct);

  /*Configure GPIO pins : SWDIO_Pin T_JTDI_Pin */
  GPIO_InitStruct.Pin = SWDIO_Pin|T_JTDI_Pin;
  GPIO_InitStruct.Mode = GPIO_MODE_AF_PP;
  GPIO_InitStruct.Pull = GPIO_PULLUP;
  GPIO_InitStruct.Speed = GPIO_SPEED_FREQ_LOW;
  GPIO_InitStruct.Alternate = GPIO_AF0_TRACE;
  HAL_GPIO_Init(GPIOA, &GPIO_InitStruct);

  /*Configure GPIO pins : RMII_TXT_EN_Pin RMI_TXD0_Pin */
  GPIO_InitStruct.Pin = RMII_TXT_EN_Pin|RMI_TXD0_Pin;
  GPIO_InitStruct.Mode = GPIO_MODE_AF_PP;
  GPIO_InitStruct.Pull = GPIO_NOPULL;
  GPIO_InitStruct.Speed = GPIO_SPEED_FREQ_HIGH;
  GPIO_InitStruct.Alternate = GPIO_AF11_ETH;
  HAL_GPIO_Init(GPIOG, &GPIO_InitStruct);

  /*Configure GPIO pin : SWO_Pin */
  GPIO_InitStruct.Pin = SWO_Pin;
  GPIO_InitStruct.Mode = GPIO_MODE_AF_PP;
  GPIO_InitStruct.Pull = GPIO_NOPULL;
  GPIO_InitStruct.Speed = GPIO_SPEED_FREQ_LOW;
  GPIO_InitStruct.Alternate = GPIO_AF0_TRACE;
  HAL_GPIO_Init(SWO_GPIO_Port, &GPIO_InitStruct);

  /*Configure GPIO pin : INTR_Pin */
  GPIO_InitStruct.Pin = INTR_Pin;
  GPIO_InitStruct.Mode = GPIO_MODE_IT_FALLING;
  GPIO_InitStruct.Pull = GPIO_NOPULL;
  HAL_GPIO_Init(INTR_GPIO_Port, &GPIO_InitStruct);

  /*Configure GPIO pin : DEBUG_GPIO_2_Pin */
  GPIO_InitStruct.Pin = DEBUG_GPIO_2_Pin;
  GPIO_InitStruct.Mode = GPIO_MODE_OUTPUT_PP;
  GPIO_InitStruct.Pull = GPIO_NOPULL;
  GPIO_InitStruct.Speed = GPIO_SPEED_FREQ_HIGH;
  HAL_GPIO_Init(DEBUG_GPIO_2_GPIO_Port, &GPIO_InitStruct);

  /* EXTI interrupt init*/
  HAL_NVIC_SetPriority(EXTI7_IRQn, 0, 0);
  HAL_NVIC_EnableIRQ(EXTI7_IRQn);

}

void Error_Handler(void)
{
  /* USER CODE BEGIN Error_Handler_Debug */
  /* User can add his own implementation to report the HAL error return state */
  BSP_LED_On(LED3);             /* red: wedged here, forever, with IRQs off */
  __disable_irq();
  while (1)
  {
  }
  /* USER CODE END Error_Handler_Debug */
}
